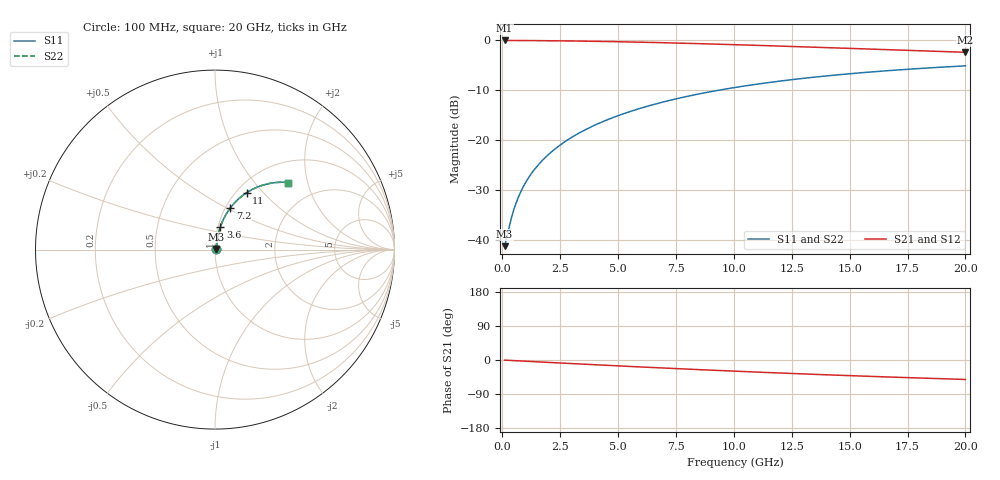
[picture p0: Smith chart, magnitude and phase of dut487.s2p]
! Touchstone file exported from HFSS 2024.1.0
!  File:  C:/UserFiles/LocalFiles/RDL_TSV_Batchsim/temp_RDL_bottom_487_1779686659.aedt
!  Generated:  01:26:44 PM May 25, 2026
!  Design:  RDL_bottom
!  Project:  temp_RDL_bottom_487_1779686659
!  Setup:  Setup1
!  Solution:  Sweep
! Variables:
!  dtsv = 10.80580581um
!  hbump = 3um
!  htsv = 51.81um
!  ldown = 659.1um
!  lrdl = 100um
!  p = 40
!  p1 = 54.86um
!  rhole = 1um
!  t = 450um
!  tdown = 2.23um
!  trdl = 3.915915916um
!  wdown = 13.48um
!  wrdl = 20um
# GHz S MA R 50.000000
! Terminal data exported
! Port[1] = RDL1_T1
! Port[2] = RDL1_T2
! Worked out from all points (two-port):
!   200 points, 100 MHz to 20 GHz, reference 50 ohm
!   highest |S21| = -0.07 dB at 100 MHz (marker M1); lowest = -2.4 dB at 20 GHz (marker M2)
!   |S21| within 3 dB of the highest: start of sweep to end of sweep
!   lowest |S11| = -41.2 dB at 100 MHz (marker M3), VSWR 1.02, Z = 50.8 + j0.375 ohm
!   |S11| at or under -10 dB: start of sweep to 9.379 GHz
!   |S22| runs from -41.2 to -5.2 dB; largest |S21 - S12| = 2.6e-15
!   S11 on the Smith chart (normalised r, x): 100 MHz: 1.02, +0.01; 3.6 GHz: 1.03, +0.26; 7.2 GHz: 1.05, +0.52; 11 GHz: 1.11, +0.81; 20 GHz: 1.41, +1.52
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0.1  0.008671 25.2  0.9922 -0.3  0.9922 -0.3  0.008671 25.2
! Gamma 0 0 0 0
! Port Impedance 50 0 50 0
0.3  0.0137 53.7  0.9919 -1.0  0.9919 -1.0  0.0137 53.7
0.4  0.01688 60.4  0.9917 -1.3  0.9917 -1.3  0.01688 60.4
0.6  0.02358 67.8  0.9912 -2.0  0.9912 -2.0  0.02358 67.8
0.7  0.02701 70.0  0.9909 -2.3  0.9909 -2.3  0.02701 70.0
0.9  0.03389 72.9  0.9903 -2.9  0.9903 -2.9  0.03389 72.9
1.2  0.04423 75.3  0.9893 -3.9  0.9893 -3.9  0.04423 75.3
1.7  0.0615 77.1  0.9874 -5.4  0.9874 -5.4  0.0615 77.1
2.2  0.07881 77.7  0.985 -7.0  0.985 -7.0  0.07881 77.7
2.8  0.09963 77.6  0.9816 -8.8  0.9816 -8.8  0.09963 77.6
3.5  0.1239 76.9  0.9768 -11.0  0.9768 -11.0  0.1239 76.9
3.6  0.1274 76.8  0.9761 -11.3  0.9761 -11.3  0.1273 76.8
4.3  0.1515 75.7  0.9703 -13.4  0.9703 -13.4  0.1515 75.7
5  0.1755 74.4  0.9637 -15.5  0.9637 -15.5  0.1754 74.4
6.8  0.2356 70.6  0.9438 -20.7  0.9438 -20.7  0.2355 70.6
7.2  0.2486 69.7  0.9389 -21.9  0.9389 -21.9  0.2485 69.7
8.6  0.2927 66.5  0.9206 -25.7  0.9206 -25.7  0.2926 66.5
10.1  0.3373 63.0  0.8995 -29.7  0.8995 -29.7  0.3372 63.0
11  0.3626 60.9  0.8864 -31.9  0.8864 -31.9  0.3624 60.9
13.4  0.4243 55.6  0.8505 -37.7  0.8505 -37.7  0.4241 55.5
16.7  0.4956 48.7  0.8015 -44.9  0.8015 -44.9  0.4954 48.7
20  0.5526 42.6  0.7553 -51.4  0.7553 -51.4  0.5524 42.5
